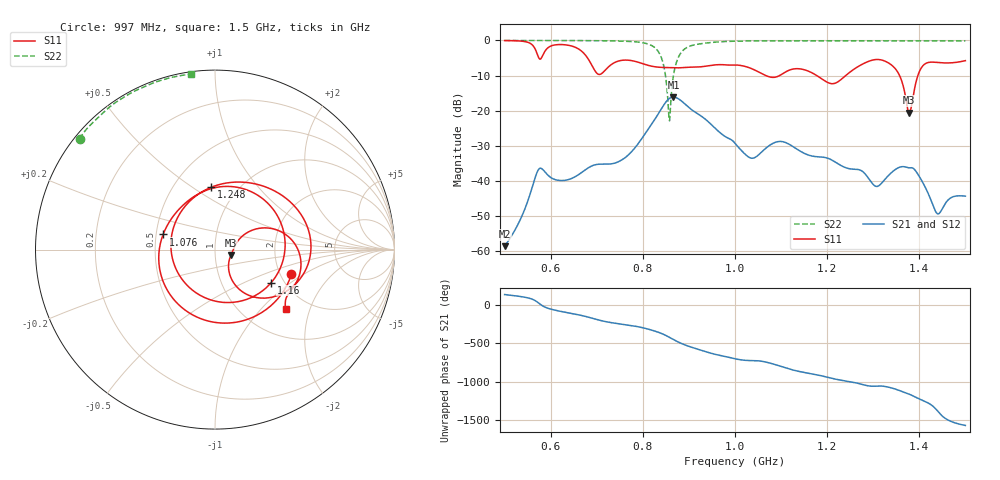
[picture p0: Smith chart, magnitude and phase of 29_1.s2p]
! TOUCHSTONE file generated by CST MICROWAVE STUDIO
! Date and time: Sat Nov 14 20:40:01 2020
! Project name: Scenario_1_Planar_Body_Tissue_Out_of_Line_v2.cst
! Parameters = {dy1=-138.4; L_HA=400; Ltissue=700; MT=2.54; Rad_Dielectric=30; Rad_Lower=7.3; Rad_Upper=30; Wtissue=700; a_HA=580; a_WG=246; b_HA=500; b_WG=121; c_HA=0; c_WG=187; d_feed=85; dx1=173; h_feed=15; h_lower=18; h_upper=40; hfat=3; hgap=25; hmuscle=50; hskin=1.5}
! Header version: 2018
! Port assignment regex: !\s*Touchstone port\s*([0-9]+)\s*=\s*(CST MWS port|CST DS port)\s*([0-9]+|Zmin|Zmax)\s*\(\"(.*)\"\)(\s*mode\s*([0-9]+))?.*
! Touchstone port assignment:
! Touchstone port 1 = CST MWS port 1 ("")
! Touchstone port 2 = CST MWS port 2 ("")
# GHz S DB R 50
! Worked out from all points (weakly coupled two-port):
!   1003 points, 500 MHz to 1.5 GHz, reference 50 ohm
!   highest |S21| = -16.16 dB at 866.5 MHz (marker M1); lowest = -58.6 dB at 500 MHz (marker M2)
!   lowest |S11| = -20.5 dB at 1.378 GHz (marker M3), VSWR 1.21, Z = 59.7 - j3.6 ohm
!   |S11| at or under -10 dB: 1.067 GHz to 1.097 GHz (30.21 MHz wide, 2.79 % of centre); 1.177 GHz to 1.24 GHz (63 MHz wide, 5.21 % of centre); 1.357 GHz to 1.397 GHz (39.72 MHz wide, 2.88 % of centre)
!   |S22| runs from -22.9 to 0.0 dB; largest |S21 - S12| = 1.4e-05
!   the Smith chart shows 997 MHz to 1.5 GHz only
!   S11 on the Smith chart (normalised r, x): 997 MHz: 2.29, -0.79; 1.076 GHz: 0.54, +0.10; 1.16 GHz: 1.72, -0.73; 1.248 GHz: 0.76, +0.60; 1.5 GHz: 1.53, -1.39
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0.5  -0.05 -121.8  -58.63 130.6  -58.63 130.6  -0.01 151.1
0.575  -5.15 -162.6  -36.58 15.2  -36.58 15.2  -0.02 146.0
0.628  -1.20 171.8  -39.91 -95.1  -39.91 -95.1  -0.03 141.9
0.667  -3.05 109.9  -37.65 -140.6  -37.65 -140.6  -0.04 138.4
0.693  -7.96 25.5  -35.57 178.9  -35.57 178.9  -0.06 135.6
0.718  -8.52 -96.5  -35.27 141.3  -35.27 141.3  -0.09 132.6
0.758  -5.62 165.2  -33.74 103.2  -33.74 103.2  -0.21 125.9
0.834  -7.63 19.5  -20.82 1.3  -20.82 1.3  -3.26 83.3
0.857  -7.75 -40.6  -16.60 -61.7  -16.60 -61.7  -22.72 -28.9
0.8665  -7.79 -67.6  -16.16 -92.8  -16.16 -92.8  -9.94 -144.1
0.904  -7.62 -173.6  -19.55 171.1  -19.55 171.1  -1.53 164.9
0.942  -7.21 93.4  -23.17 100.0  -23.17 100.0  -0.68 151.0
0.997  -6.98 -17.9  -28.86 22.2  -28.86 22.2  -0.23 140.7
1  -6.98 -23.7  -29.30 17.9  -29.30 17.9  -0.21 140.3
1.076  -10.42 163.7  -29.82 -37.7  -29.82 -37.7  -0.15 131.7
1.16  -8.80 -30.5  -32.69 -170.0  -32.69 -170.0  -0.10 124.7
1.167  -9.23 -44.7  -32.94 -177.5  -32.94 -177.5  -0.09 124.1
1.248  -9.18 93.6  -36.55 82.9  -36.55 82.9  -0.09 118.0
1.334  -6.49 -27.0  -38.34 9.0  -38.34 9.0  -0.09 111.6
1.378  -20.54 -18.6  -36.30 -80.6  -36.30 -80.6  -0.09 108.1
1.411  -6.82 1.6  -41.35 -170.3  -41.35 -170.3  -0.09 105.5
1.5  -5.76 -40.3  -44.37 -125.8  -44.37 -125.8  -0.12 97.9
